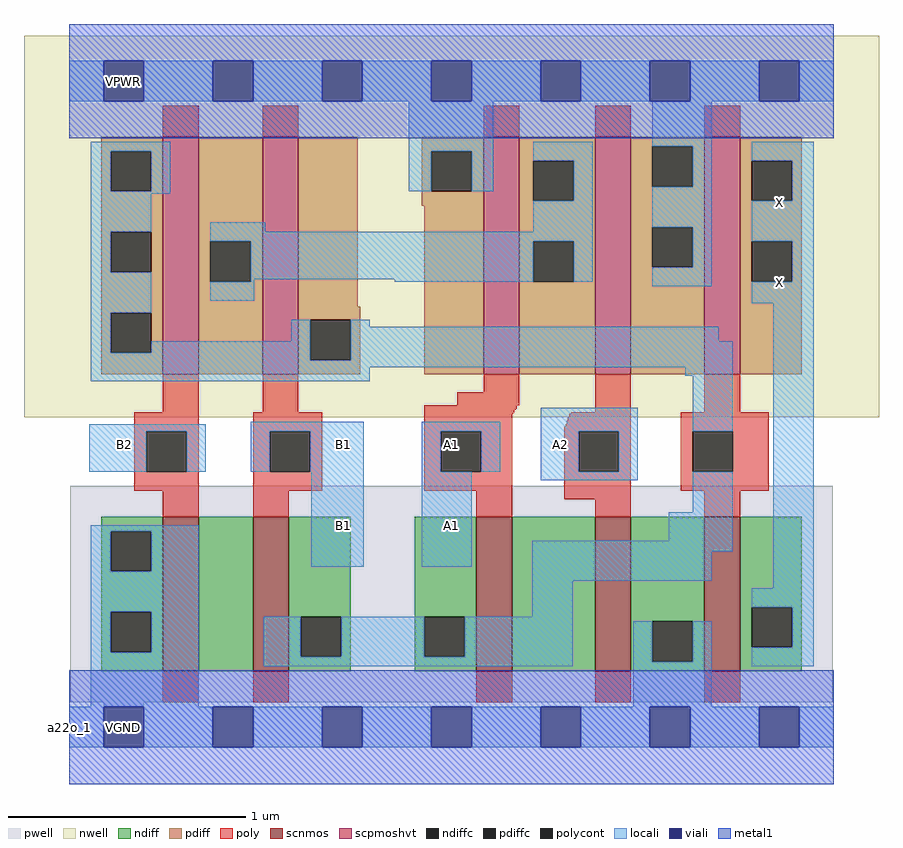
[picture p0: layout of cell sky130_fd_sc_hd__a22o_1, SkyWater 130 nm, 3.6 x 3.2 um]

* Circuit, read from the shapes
.subckt sky130_fd_sc_hd__a22o_1 VPWR VGND VPB VNB B1 A1 A2 X B2
XM1 n1 B2 VGND VNB sky130_fd_pr__nfet_01v8 w=0.65 l=0.15
XM2 n2 B1 n1 VNB sky130_fd_pr__nfet_01v8 w=0.65 l=0.15
XM3 n3 A1 n2 VNB sky130_fd_pr__nfet_01v8 w=0.65 l=0.15
XM4 VGND A2 n3 VNB sky130_fd_pr__nfet_01v8 w=0.65 l=0.15
XM5 X n2 VGND VNB sky130_fd_pr__nfet_01v8 w=0.65 l=0.15
XM6 n4 B2 n2 VPB sky130_fd_pr__pfet_01v8_hvt w=1 l=0.15
XM7 n2 B1 n4 VPB sky130_fd_pr__pfet_01v8_hvt w=1 l=0.15
XM8 n4 A1 VPWR VPB sky130_fd_pr__pfet_01v8_hvt w=1 l=0.15
XM9 VPWR A2 n4 VPB sky130_fd_pr__pfet_01v8_hvt w=1 l=0.15
XM10 X n2 VPWR VPB sky130_fd_pr__pfet_01v8_hvt w=1 l=0.15
.ends

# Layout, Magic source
magic
tech sky130B
magscale 1 2
<< nwell >>
rect -38 221 682 542
<< pwell >>
rect 1 -19 643 163
rect 29 -57 63 -19
<< scnmos >>
rect 79 7 109 137
rect 155 7 185 137
rect 343 7 373 137
rect 443 7 473 137
rect 535 7 565 137
<< scpmoshvt >>
rect 79 257 109 457
rect 163 257 193 457
rect 349 257 379 457
rect 443 257 473 457
rect 535 257 565 457
<< ndiff >>
rect 27 125 79 137
rect 27 91 35 125
rect 69 91 79 125
rect 27 57 79 91
rect 27 23 35 57
rect 69 23 79 57
rect 27 7 79 23
rect 109 7 155 137
rect 185 53 237 137
rect 185 19 195 53
rect 229 19 237 53
rect 185 7 237 19
rect 291 53 343 137
rect 291 19 299 53
rect 333 19 343 53
rect 291 7 343 19
rect 373 7 443 137
rect 473 49 535 137
rect 473 15 491 49
rect 525 15 535 49
rect 473 7 535 15
rect 565 61 617 137
rect 565 27 575 61
rect 609 27 617 61
rect 565 7 617 27
<< pdiff >>
rect 27 445 79 457
rect 27 411 35 445
rect 69 411 79 445
rect 27 377 79 411
rect 27 343 35 377
rect 69 343 79 377
rect 27 309 79 343
rect 27 275 35 309
rect 69 275 79 309
rect 27 257 79 275
rect 109 369 163 457
rect 109 335 119 369
rect 153 335 163 369
rect 109 257 163 335
rect 193 314 243 457
rect 297 445 349 457
rect 297 411 305 445
rect 339 411 349 445
rect 297 399 349 411
rect 193 303 245 314
rect 193 269 203 303
rect 237 269 245 303
rect 193 257 245 269
rect 299 257 349 399
rect 379 437 443 457
rect 379 403 391 437
rect 425 403 443 437
rect 379 369 443 403
rect 379 335 391 369
rect 425 335 443 369
rect 379 257 443 335
rect 473 449 535 457
rect 473 415 491 449
rect 525 415 535 449
rect 473 381 535 415
rect 473 347 491 381
rect 525 347 535 381
rect 473 257 535 347
rect 565 437 617 457
rect 565 403 575 437
rect 609 403 617 437
rect 565 369 617 403
rect 565 335 575 369
rect 609 335 617 369
rect 565 257 617 335
<< ndiffc >>
rect 35 91 69 125
rect 35 23 69 57
rect 195 19 229 53
rect 299 19 333 53
rect 491 15 525 49
rect 575 27 609 61
<< pdiffc >>
rect 35 411 69 445
rect 35 343 69 377
rect 35 275 69 309
rect 119 335 153 369
rect 305 411 339 445
rect 203 269 237 303
rect 391 403 425 437
rect 391 335 425 369
rect 491 415 525 449
rect 491 347 525 381
rect 575 403 609 437
rect 575 335 609 369
<< poly >>
rect 79 457 109 483
rect 163 457 193 483
rect 349 457 379 483
rect 443 457 473 483
rect 535 457 565 483
rect 79 225 109 257
rect 163 225 193 257
rect 349 242 379 257
rect 327 231 379 242
rect 299 228 377 231
rect 299 227 376 228
rect 299 225 375 227
rect 443 225 473 257
rect 535 225 565 257
rect 55 209 109 225
rect 55 175 65 209
rect 99 175 109 209
rect 55 159 109 175
rect 79 137 109 159
rect 155 209 213 225
rect 155 175 169 209
rect 203 175 213 209
rect 155 159 213 175
rect 299 224 374 225
rect 423 224 473 225
rect 299 209 373 224
rect 421 221 473 224
rect 420 218 473 221
rect 419 215 473 218
rect 418 213 473 215
rect 299 175 313 209
rect 347 175 373 209
rect 299 159 373 175
rect 155 137 185 159
rect 343 137 373 159
rect 417 209 473 213
rect 417 175 429 209
rect 463 175 473 209
rect 417 152 473 175
rect 515 209 589 225
rect 515 175 525 209
rect 559 175 589 209
rect 515 159 589 175
rect 443 137 473 152
rect 535 137 565 159
rect 79 -19 109 7
rect 155 -19 185 7
rect 343 -19 373 7
rect 443 -19 473 7
rect 535 -19 565 7
<< polycont >>
rect 65 175 99 209
rect 169 175 203 209
rect 313 175 347 209
rect 429 175 463 209
rect 525 175 559 209
<< locali >>
rect 0 487 29 521
rect 63 487 121 521
rect 155 487 213 521
rect 247 487 305 521
rect 339 487 397 521
rect 431 487 489 521
rect 523 487 581 521
rect 615 487 644 521
rect 18 445 85 453
rect 18 411 35 445
rect 69 411 85 445
rect 286 445 357 487
rect 286 411 305 445
rect 339 411 357 445
rect 391 437 441 453
rect 18 409 85 411
rect 18 377 69 409
rect 425 403 441 437
rect 18 343 35 377
rect 18 309 69 343
rect 119 377 165 385
rect 391 377 441 403
rect 119 369 441 377
rect 153 337 391 369
rect 153 335 156 337
rect 274 335 391 337
rect 425 335 441 369
rect 491 449 541 487
rect 525 415 541 449
rect 491 381 541 415
rect 525 347 541 381
rect 119 319 156 335
rect 491 331 541 347
rect 575 437 627 453
rect 609 403 627 437
rect 575 369 627 403
rect 609 335 627 369
rect 575 317 627 335
rect 18 275 35 309
rect 187 285 203 303
rect 69 275 203 285
rect 18 269 203 275
rect 237 297 253 303
rect 237 285 547 297
rect 237 269 559 285
rect 18 263 559 269
rect 18 251 253 263
rect 519 256 559 263
rect 17 209 115 215
rect 17 175 65 209
rect 99 175 115 209
rect 153 209 248 217
rect 153 175 169 209
rect 203 175 248 209
rect 18 125 109 130
rect 18 91 35 125
rect 69 91 109 125
rect 204 95 248 175
rect 297 209 363 217
rect 297 175 313 209
rect 347 175 363 209
rect 397 209 479 229
rect 397 175 429 209
rect 463 175 479 209
rect 297 95 339 175
rect 397 168 479 175
rect 525 209 559 256
rect 525 141 559 175
rect 505 117 559 141
rect 390 108 559 117
rect 18 57 109 91
rect 18 23 35 57
rect 69 23 109 57
rect 390 83 541 108
rect 390 53 424 83
rect 593 77 627 317
rect 18 -23 109 23
rect 164 19 195 53
rect 229 19 299 53
rect 333 19 424 53
rect 575 61 627 77
rect 164 11 424 19
rect 475 15 491 49
rect 525 15 541 49
rect 475 -23 541 15
rect 609 27 627 61
rect 575 11 627 27
rect 0 -57 29 -23
rect 63 -57 121 -23
rect 155 -57 213 -23
rect 247 -57 305 -23
rect 339 -57 397 -23
rect 431 -57 489 -23
rect 523 -57 581 -23
rect 615 -57 644 -23
<< viali >>
rect 29 487 63 521
rect 121 487 155 521
rect 213 487 247 521
rect 305 487 339 521
rect 397 487 431 521
rect 489 487 523 521
rect 581 487 615 521
rect 29 -57 63 -23
rect 121 -57 155 -23
rect 213 -57 247 -23
rect 305 -57 339 -23
rect 397 -57 431 -23
rect 489 -57 523 -23
rect 581 -57 615 -23
<< metal1 >>
rect 0 521 644 552
rect 0 487 29 521
rect 63 487 121 521
rect 155 487 213 521
rect 247 487 305 521
rect 339 487 397 521
rect 431 487 489 521
rect 523 487 581 521
rect 615 487 644 521
rect 0 456 644 487
rect 0 -23 644 8
rect 0 -57 29 -23
rect 63 -57 121 -23
rect 155 -57 213 -23
rect 247 -57 305 -23
rect 339 -57 397 -23
rect 431 -57 489 -23
rect 523 -57 581 -23
rect 615 -57 644 -23
rect 0 -88 644 -57
<< labels >>
rlabel comment s 0 -40 0 -40 4 a22o_1
flabel metal1 s 29 487 63 521 0 FreeSans 200 0 0 0 VPWR
port 2 nsew
flabel metal1 s 29 -57 63 -23 0 FreeSans 200 0 0 0 VGND
port 3 nsew
flabel nwell s 29 487 63 521 0 FreeSans 200 0 0 0 VPB
port 5 nsew
flabel pwell s 29 -57 63 -23 0 FreeSans 200 0 0 0 VNB
port 6 nsew
flabel locali s 305 181 339 215 0 FreeSans 200 0 0 0 A1
port 8 nsew
flabel locali s 397 181 431 215 0 FreeSans 200 0 0 0 A2
port 9 nsew
flabel locali s 581 385 615 419 0 FreeSans 200 0 0 0 X
port 10 nsew
flabel locali s 30 181 64 215 0 FreeSans 200 0 0 0 B2
port 11 nsew
flabel locali s 214 181 248 215 0 FreeSans 200 0 0 0 B1
port 7 nsew
flabel locali s 305 113 339 147 0 FreeSans 200 0 0 0 A1
port 8 nsew
flabel locali s 214 113 248 147 0 FreeSans 200 0 0 0 B1
port 7 nsew
flabel locali s 581 317 615 351 0 FreeSans 200 0 0 0 X
port 10 nsew
<< properties >>
string FIXED_BBOX 0 -40 644 504
string path 0.000 -1.000 16.100 -1.000 
<< end >>
